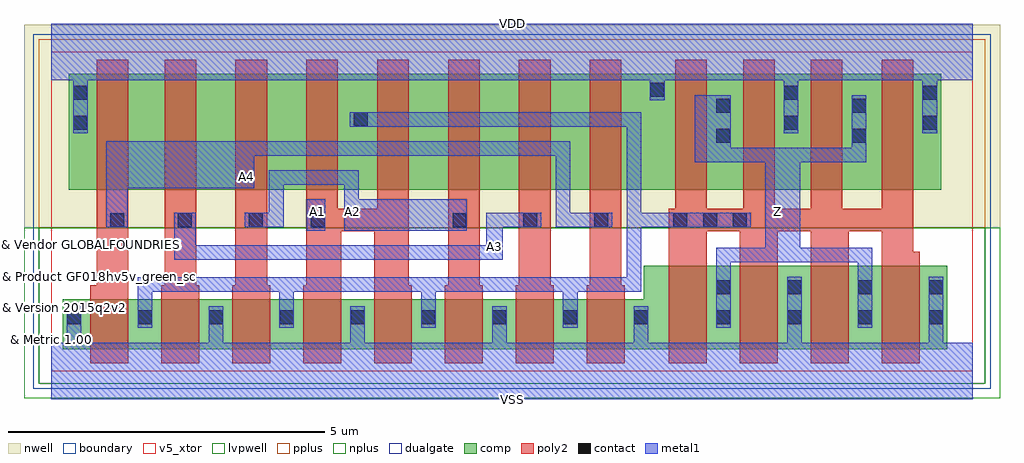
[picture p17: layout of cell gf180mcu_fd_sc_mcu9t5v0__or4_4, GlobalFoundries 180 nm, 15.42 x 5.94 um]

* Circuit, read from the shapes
.subckt gf180mcu_fd_sc_mcu9t5v0__or4_4 A1 A2 A3 A4 VDD VSS Z
XM1 n1 A4 VSS VSUBS nfet_05v0 w=0.79u l=0.6u m=2
XM2 VSS A3 n1 VSUBS nfet_05v0 w=0.79u l=0.6u m=2
XM3 n1 A2 VSS VSUBS nfet_05v0 w=0.79u l=0.6u m=2
XM4 VSS A1 n1 VSUBS nfet_05v0 w=0.79u l=0.6u m=2
XM5 Z n1 VSS VSUBS nfet_05v0 w=1.32u l=0.6u m=4
XM6 n2 A4 VDD n3 pfet_05v0 w=1.83u l=0.5u
XM7 n4 A3 n2 n3 pfet_05v0 w=1.83u l=0.5u
XM8 n5 A2 n4 n3 pfet_05v0 w=1.83u l=0.5u
XM9 n1 A1 n5 n3 pfet_05v0 w=1.83u l=0.5u
XM10 n6 A1 n1 n3 pfet_05v0 w=1.83u l=0.5u
XM11 n7 A2 n6 n3 pfet_05v0 w=1.83u l=0.5u
XM12 n8 A3 n7 n3 pfet_05v0 w=1.83u l=0.5u
XM13 VDD A4 n8 n3 pfet_05v0 w=1.83u l=0.5u
XM14 Z n1 VDD n3 pfet_05v0 w=1.83u l=0.5u m=4
.ends

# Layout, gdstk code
import gdstk
lib = gdstk.Library(unit=1e-6, precision=1e-09)
def R(c, l, rs):  # rectangles x0, y0, x1, y1
    for r in rs: c.add(gdstk.rectangle(r[:2], r[2:], *l))
def P(c, l, *ps):  # polygons
    for p in ps: c.add(gdstk.Polygon(p, *l))
boundary = (0, 0)
nwell = (21, 0)
comp = (22, 0)
poly2 = (30, 0)
pplus = (31, 0)
nplus = (32, 0)
contact = (33, 0)
metal1 = (34, 0)
dualgate = (55, 0)
v5_xtor = (112, 1)
lvpwell = (204, 0)

gf180mcu_fd_sc_mcu9t5v0_ = lib.new_cell('gf180mcu_fd_sc_mcu9t5v0__or4_4')
R(gf180mcu_fd_sc_mcu9t5v0_, boundary, [(0,0,14.56,5.04), (0,0,14.56,5.04)])
R(gf180mcu_fd_sc_mcu9t5v0_, nwell, [(-0.43,2.265,14.99,5.47), (-0.43,2.265,14.99,5.47)])
R(gf180mcu_fd_sc_mcu9t5v0_, comp, [(0.28,2.865,14.06,4.695), (0.28,2.865,14.06,4.695)])
P(gf180mcu_fd_sc_mcu9t5v0_, comp, [(0.18,0.345),(0.18,1.135),(9.36,1.135),(9.36,1.665),(14.16,1.665),(14.16,0.345)],
  [(0.18,0.345),(0.18,1.135),(9.36,1.135),(9.36,1.665),(14.16,1.665),(14.16,0.345)])
P(gf180mcu_fd_sc_mcu9t5v0_, poly2, [(0.62,0.125),(0.62,1.355),(0.72,1.355),(0.72,4.915),(1.22,4.915),(1.22,0.125)],
  [(1.74,0.125),(1.74,1.355),(1.79,1.355),(1.79,4.915),(2.29,4.915),(2.29,1.355),(2.34,1.355),(2.34,0.125)],
  [(2.86,0.125),(2.86,1.355),(2.91,1.355),(2.91,4.915),(3.41,4.915),(3.41,1.355),(3.46,1.355),(3.46,0.125)],
  [(3.98,0.125),(3.98,1.355),(4.03,1.355),(4.03,4.915),(4.53,4.915),(4.53,2.565),(5.15,2.565),(5.15,4.915),(5.65,4.915),(5.65,1.355),(5.7,1.355),(5.7,0.125),(5.1,0.125),(5.1,2.205),(4.58,2.205),(4.58,0.125)],
  [(6.22,0.125),(6.22,1.355),(6.27,1.355),(6.27,4.915),(6.77,4.915),(6.77,1.355),(6.82,1.355),(6.82,0.125)],
  [(7.34,0.125),(7.34,1.355),(7.39,1.355),(7.39,4.915),(7.89,4.915),(7.89,1.355),(7.94,1.355),(7.94,0.125)],
  [(8.46,0.125),(8.46,1.355),(8.51,1.355),(8.51,4.915),(9.01,4.915),(9.01,1.355),(9.06,1.355),(9.06,0.125)],
  [(9.76,0.125),(9.76,2.565),(9.86,2.565),(9.86,4.915),(10.36,4.915),(10.36,2.565),(10.93,2.565),(10.93,4.915),(11.43,4.915),(11.43,2.565),(12,2.565),(12,4.915),(12.5,4.915),(12.5,2.565),(13.12,2.565),(13.12,4.915),(13.62,4.915),(13.62,1.885),(13.72,1.885),(13.72,0.125),(13.12,0.125),(13.12,2.205),(12.6,2.205),(12.6,0.125),(12,0.125),(12,2.205),(11.48,2.205),(11.48,0.125),(10.88,0.125),(10.88,2.205),(10.36,2.205),(10.36,0.125)],
  [(0.62,0.125),(0.62,1.355),(0.72,1.355),(0.72,4.915),(1.22,4.915),(1.22,0.125)],
  [(1.74,0.125),(1.74,1.355),(1.79,1.355),(1.79,4.915),(2.29,4.915),(2.29,1.355),(2.34,1.355),(2.34,0.125)],
  [(2.86,0.125),(2.86,1.355),(2.91,1.355),(2.91,4.915),(3.41,4.915),(3.41,1.355),(3.46,1.355),(3.46,0.125)],
  [(3.98,0.125),(3.98,1.355),(4.03,1.355),(4.03,4.915),(4.53,4.915),(4.53,2.565),(5.15,2.565),(5.15,4.915),(5.65,4.915),(5.65,1.355),(5.7,1.355),(5.7,0.125),(5.1,0.125),(5.1,2.205),(4.58,2.205),(4.58,0.125)],
  [(6.22,0.125),(6.22,1.355),(6.27,1.355),(6.27,4.915),(6.77,4.915),(6.77,1.355),(6.82,1.355),(6.82,0.125)],
  [(7.34,0.125),(7.34,1.355),(7.39,1.355),(7.39,4.915),(7.89,4.915),(7.89,1.355),(7.94,1.355),(7.94,0.125)],
  [(8.46,0.125),(8.46,1.355),(8.51,1.355),(8.51,4.915),(9.01,4.915),(9.01,1.355),(9.06,1.355),(9.06,0.125)],
  [(9.76,0.125),(9.76,2.565),(9.86,2.565),(9.86,4.915),(10.36,4.915),(10.36,2.565),(10.93,2.565),(10.93,4.915),(11.43,4.915),(11.43,2.565),(12,2.565),(12,4.915),(12.5,4.915),(12.5,2.565),(13.12,2.565),(13.12,4.915),(13.62,4.915),(13.62,1.885),(13.72,1.885),(13.72,0.125),(13.12,0.125),(13.12,2.205),(12.6,2.205),(12.6,0.125),(12,0.125),(12,2.205),(11.48,2.205),(11.48,0.125),(10.88,0.125),(10.88,2.205),(10.36,2.205),(10.36,0.125)])
R(gf180mcu_fd_sc_mcu9t5v0_, pplus, [(-0.2,2.265,14.76,5.24), (-0.2,2.265,14.76,5.24)])
R(gf180mcu_fd_sc_mcu9t5v0_, nplus, [(-0.2,-0.2,14.76,2.265), (-0.2,-0.2,14.76,2.265)])
R(gf180mcu_fd_sc_mcu9t5v0_, contact, [(0.25,0.74,0.47,0.96), (0.25,0.74,0.47,0.96), (1.37,0.74,1.59,0.96), (1.37,0.74,1.59,0.96), (2.49,0.74,2.71,0.96), (2.49,0.74,2.71,0.96), (3.61,0.74,3.83,0.96), (3.61,0.74,3.83,0.96), (4.73,0.74,4.95,0.96), (4.73,0.74,4.95,0.96), (5.85,0.74,6.07,0.96), (5.85,0.74,6.07,0.96), (6.97,0.74,7.19,0.96), (6.97,0.74,7.19,0.96), (8.09,0.74,8.31,0.96), (8.09,0.74,8.31,0.96), (9.21,0.74,9.43,0.96), (9.21,0.74,9.43,0.96), (10.51,0.74,10.73,0.96), (10.51,0.74,10.73,0.96), (11.63,0.74,11.85,0.96), (11.63,0.74,11.85,0.96), (12.75,0.74,12.97,0.96), (12.75,0.74,12.97,0.96), (13.87,0.74,14.09,0.96), (13.87,0.74,14.09,0.96), (10.51,1.21,10.73,1.43), (10.51,1.21,10.73,1.43), (11.63,1.21,11.85,1.43), (11.63,1.21,11.85,1.43), (12.75,1.21,12.97,1.43), (12.75,1.21,12.97,1.43), (13.87,1.21,14.09,1.43), (13.87,1.21,14.09,1.43), (0.93,2.275,1.15,2.495), (0.93,2.275,1.15,2.495), (2,2.275,2.22,2.495), (2,2.275,2.22,2.495), (3.12,2.275,3.34,2.495), (3.12,2.275,3.34,2.495), (4.1,2.275,4.32,2.495), (4.1,2.275,4.32,2.495), (6.34,2.275,6.56,2.495), (6.34,2.275,6.56,2.495), (7.46,2.275,7.68,2.495), (7.46,2.275,7.68,2.495), (8.58,2.275,8.8,2.495), (8.58,2.275,8.8,2.495), (9.83,2.275,10.05,2.495), (9.83,2.275,10.05,2.495), (10.3,2.275,10.52,2.495), (10.3,2.275,10.52,2.495), (10.77,2.275,10.99,2.495), (10.77,2.275,10.99,2.495), (10.51,3.61,10.73,3.83), (10.51,3.61,10.73,3.83), (12.65,3.61,12.87,3.83), (12.65,3.61,12.87,3.83), (0.35,3.815,0.57,4.035), (0.35,3.815,0.57,4.035), (11.58,3.815,11.8,4.035), (11.58,3.815,11.8,4.035), (13.77,3.815,13.99,4.035), (13.77,3.815,13.99,4.035), (4.78,3.865,5,4.085), (4.78,3.865,5,4.085), (10.51,4.08,10.73,4.3), (10.51,4.08,10.73,4.3), (12.65,4.08,12.87,4.3), (12.65,4.08,12.87,4.3), (0.35,4.285,0.57,4.505), (0.35,4.285,0.57,4.505), (11.58,4.285,11.8,4.505), (11.58,4.285,11.8,4.505), (13.77,4.285,13.99,4.505), (13.77,4.285,13.99,4.505), (9.465,4.335,9.685,4.555), (9.465,4.335,9.685,4.555)])
R(gf180mcu_fd_sc_mcu9t5v0_, metal1, [(4.035,2.215,4.33,2.71), (4.035,2.215,4.33,2.71)])
P(gf180mcu_fd_sc_mcu9t5v0_, metal1, [(4.63,2.215),(4.63,2.94),(3.67,2.94),(3.67,2.27),(3.06,2.27),(3.06,2.5),(3.44,2.5),(3.44,3.17),(4.86,3.17),(4.86,2.71),(6.565,2.71),(6.565,2.215)],
  [(1.94,1.755),(1.94,2.5),(2.28,2.5),(2.28,1.985),(6.87,1.985),(6.87,2.5),(7.74,2.5),(7.74,2.27),(7.13,2.27),(7.13,1.755)],
  [(0.87,2.27),(0.87,3.63),(8.2,3.63),(8.2,2.5),(8.86,2.5),(8.86,2.27),(7.97,2.27),(7.97,3.4),(3.21,3.4),(3.21,2.89),(1.21,2.89),(1.21,2.27)],
  [(1.365,0.68),(1.365,1.48),(9.09,1.48),(9.09,3.86),(4.72,3.86),(4.72,4.09),(9.32,4.09),(9.32,2.5),(11.05,2.5),(11.05,2.27),(9.32,2.27),(9.32,1.25),(8.315,1.25),(8.315,0.68),(8.085,0.68),(8.085,1.25),(6.075,1.25),(6.075,0.68),(5.845,0.68),(5.845,1.25),(3.835,1.25),(3.835,0.68),(3.605,0.68),(3.605,1.25),(1.595,1.25),(1.595,0.68)],
  [(10.505,0.68),(10.505,1.95),(11.28,1.95),(11.28,3.295),(10.17,3.295),(10.17,4.36),(10.735,4.36),(10.735,3.525),(12.645,3.525),(12.645,4.36),(12.875,4.36),(12.875,3.295),(11.835,3.295),(11.835,1.95),(12.975,1.95),(12.975,0.68),(12.745,0.68),(12.745,1.72),(10.735,1.72),(10.735,0.68)],
  [(0,-0.45),(0,0.45),(0.245,0.45),(0.245,1.02),(0.475,1.02),(0.475,0.45),(2.485,0.45),(2.485,1.02),(2.715,1.02),(2.715,0.45),(4.725,0.45),(4.725,1.02),(4.955,1.02),(4.955,0.45),(6.965,0.45),(6.965,1.02),(7.195,1.02),(7.195,0.45),(9.205,0.45),(9.205,1.02),(9.435,1.02),(9.435,0.45),(11.625,0.45),(11.625,1.49),(11.855,1.49),(11.855,0.45),(13.865,0.45),(13.865,1.49),(14.095,1.49),(14.095,0.45),(14.56,0.45),(14.56,-0.45)],
  [(0.345,3.755),(0.345,4.59),(0,4.59),(0,5.49),(14.56,5.49),(14.56,4.59),(13.995,4.59),(13.995,3.755),(13.765,3.755),(13.765,4.59),(11.805,4.59),(11.805,3.755),(11.575,3.755),(11.575,4.59),(9.69,4.59),(9.69,4.275),(9.46,4.275),(9.46,4.59),(0.575,4.59),(0.575,3.755)],
  [(4.63,2.215),(4.63,2.94),(3.67,2.94),(3.67,2.27),(3.06,2.27),(3.06,2.5),(3.44,2.5),(3.44,3.17),(4.86,3.17),(4.86,2.71),(6.565,2.71),(6.565,2.215)],
  [(1.94,1.755),(1.94,2.5),(2.28,2.5),(2.28,1.985),(6.87,1.985),(6.87,2.5),(7.74,2.5),(7.74,2.27),(7.13,2.27),(7.13,1.755)],
  [(0.87,2.27),(0.87,3.63),(8.2,3.63),(8.2,2.5),(8.86,2.5),(8.86,2.27),(7.97,2.27),(7.97,3.4),(3.21,3.4),(3.21,2.89),(1.21,2.89),(1.21,2.27)],
  [(1.365,0.68),(1.365,1.48),(9.09,1.48),(9.09,3.86),(4.72,3.86),(4.72,4.09),(9.32,4.09),(9.32,2.5),(11.05,2.5),(11.05,2.27),(9.32,2.27),(9.32,1.25),(8.315,1.25),(8.315,0.68),(8.085,0.68),(8.085,1.25),(6.075,1.25),(6.075,0.68),(5.845,0.68),(5.845,1.25),(3.835,1.25),(3.835,0.68),(3.605,0.68),(3.605,1.25),(1.595,1.25),(1.595,0.68)],
  [(10.505,0.68),(10.505,1.95),(11.28,1.95),(11.28,3.295),(10.17,3.295),(10.17,4.36),(10.735,4.36),(10.735,3.525),(12.645,3.525),(12.645,4.36),(12.875,4.36),(12.875,3.295),(11.835,3.295),(11.835,1.95),(12.975,1.95),(12.975,0.68),(12.745,0.68),(12.745,1.72),(10.735,1.72),(10.735,0.68)],
  [(0,-0.45),(0,0.45),(0.245,0.45),(0.245,1.02),(0.475,1.02),(0.475,0.45),(2.485,0.45),(2.485,1.02),(2.715,1.02),(2.715,0.45),(4.725,0.45),(4.725,1.02),(4.955,1.02),(4.955,0.45),(6.965,0.45),(6.965,1.02),(7.195,1.02),(7.195,0.45),(9.205,0.45),(9.205,1.02),(9.435,1.02),(9.435,0.45),(11.625,0.45),(11.625,1.49),(11.855,1.49),(11.855,0.45),(13.865,0.45),(13.865,1.49),(14.095,1.49),(14.095,0.45),(14.56,0.45),(14.56,-0.45)],
  [(0.345,3.755),(0.345,4.59),(0,4.59),(0,5.49),(14.56,5.49),(14.56,4.59),(13.995,4.59),(13.995,3.755),(13.765,3.755),(13.765,4.59),(11.805,4.59),(11.805,3.755),(11.575,3.755),(11.575,4.59),(9.69,4.59),(9.69,4.275),(9.46,4.275),(9.46,4.59),(0.575,4.59),(0.575,3.755)])
R(gf180mcu_fd_sc_mcu9t5v0_, dualgate, [(-0.28,-0.28,14.84,5.32), (-0.28,-0.28,14.84,5.32)])
R(gf180mcu_fd_sc_mcu9t5v0_, v5_xtor, [(0,0,14.56,5.04), (0,0,14.56,5.04)])
R(gf180mcu_fd_sc_mcu9t5v0_, lvpwell, [(-0.43,-0.43,14.99,2.265), (-0.43,-0.43,14.99,2.265)])
gf180mcu_fd_sc_mcu9t5v0_.add(gdstk.Label('A1', (4.2,2.52), layer=34, texttype=10))
gf180mcu_fd_sc_mcu9t5v0_.add(gdstk.Label('A2', (4.76,2.52), layer=34, texttype=10))
gf180mcu_fd_sc_mcu9t5v0_.add(gdstk.Label('A3', (7,1.96), layer=34, texttype=10))
gf180mcu_fd_sc_mcu9t5v0_.add(gdstk.Label('A4', (3.08,3.08), layer=34, texttype=10))
gf180mcu_fd_sc_mcu9t5v0_.add(gdstk.Label('VDD', (7.28,5.49), layer=34, texttype=10))
gf180mcu_fd_sc_mcu9t5v0_.add(gdstk.Label('VSS', (7.28,-0.45), layer=34, texttype=10))
gf180mcu_fd_sc_mcu9t5v0_.add(gdstk.Label('Z', (11.48,2.52), layer=34, texttype=10))
gf180mcu_fd_sc_mcu9t5v0_.add(gdstk.Label('A1', (4.2,2.52), layer=34, texttype=10))
gf180mcu_fd_sc_mcu9t5v0_.add(gdstk.Label('A2', (4.76,2.52), layer=34, texttype=10))
gf180mcu_fd_sc_mcu9t5v0_.add(gdstk.Label('A3', (7,1.96), layer=34, texttype=10))
gf180mcu_fd_sc_mcu9t5v0_.add(gdstk.Label('A4', (3.08,3.08), layer=34, texttype=10))
gf180mcu_fd_sc_mcu9t5v0_.add(gdstk.Label('VDD', (7.28,5.49), layer=34, texttype=10))
gf180mcu_fd_sc_mcu9t5v0_.add(gdstk.Label('VSS', (7.28,-0.45), layer=34, texttype=10))
gf180mcu_fd_sc_mcu9t5v0_.add(gdstk.Label('Z', (11.48,2.52), layer=34, texttype=10))
gf180mcu_fd_sc_mcu9t5v0_.add(gdstk.Label('& Vendor GLOBALFOUNDRIES', (0,2), layer=63, texttype=63))
gf180mcu_fd_sc_mcu9t5v0_.add(gdstk.Label('& Product GF018hv5v_green_sc9', (0,1.5), layer=63, texttype=63))
gf180mcu_fd_sc_mcu9t5v0_.add(gdstk.Label('& Version 2015q2v2', (0,1), layer=63, texttype=63))
gf180mcu_fd_sc_mcu9t5v0_.add(gdstk.Label('& Metric 1.00', (0,0.5), layer=63, texttype=63))
gf180mcu_fd_sc_mcu9t5v0_.add(gdstk.Label('& Vendor GLOBALFOUNDRIES', (0,2), layer=63, texttype=63))
gf180mcu_fd_sc_mcu9t5v0_.add(gdstk.Label('& Product GF018hv5v_green_sc9', (0,1.5), layer=63, texttype=63))
gf180mcu_fd_sc_mcu9t5v0_.add(gdstk.Label('& Version 2015q2v2', (0,1), layer=63, texttype=63))
gf180mcu_fd_sc_mcu9t5v0_.add(gdstk.Label('& Metric 1.00', (0,0.5), layer=63, texttype=63))

lib.write_gds('gf180mcu_fd_sc_mcu9t5v0__or4_4.gds')
